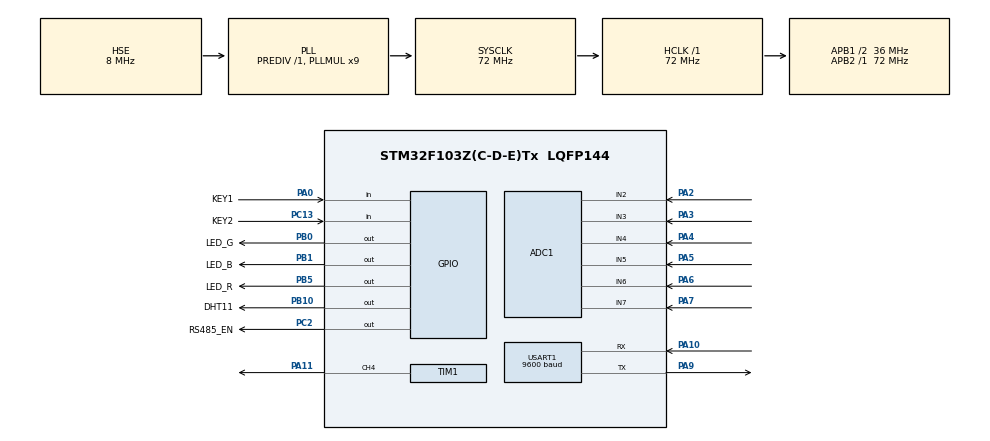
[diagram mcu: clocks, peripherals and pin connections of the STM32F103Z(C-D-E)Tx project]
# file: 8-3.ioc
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ADC1.Channel-0\#ChannelRegularConversion=ADC_CHANNEL_2
ADC1.Channel-1\#ChannelRegularConversion=ADC_CHANNEL_3
ADC1.Channel-2\#ChannelRegularConversion=ADC_CHANNEL_4
ADC1.Channel-3\#ChannelRegularConversion=ADC_CHANNEL_5
ADC1.Channel-4\#ChannelRegularConversion=ADC_CHANNEL_6
ADC1.Channel-5\#ChannelRegularConversion=ADC_CHANNEL_7
ADC1.ContinuousConvMode=ENABLE
ADC1.NbrOfConversion=6
ADC1.NbrOfConversionFlag=1
ADC1.Rank-0\#ChannelRegularConversion=1
ADC1.Rank-1\#ChannelRegularConversion=2
ADC1.Rank-2\#ChannelRegularConversion=3
ADC1.Rank-3\#ChannelRegularConversion=4
ADC1.Rank-4\#ChannelRegularConversion=5
ADC1.Rank-5\#ChannelRegularConversion=6
ADC1.SamplingTime-0\#ChannelRegularConversion=ADC_SAMPLETIME_55CYCLES_5
ADC1.SamplingTime-1\#ChannelRegularConversion=ADC_SAMPLETIME_55CYCLES_5
ADC1.SamplingTime-2\#ChannelRegularConversion=ADC_SAMPLETIME_55CYCLES_5
ADC1.SamplingTime-3\#ChannelRegularConversion=ADC_SAMPLETIME_55CYCLES_5
ADC1.SamplingTime-4\#ChannelRegularConversion=ADC_SAMPLETIME_55CYCLES_5
ADC1.SamplingTime-5\#ChannelRegularConversion=ADC_SAMPLETIME_55CYCLES_5
ADC1.master=1
Dma.ADC1.0.Direction=DMA_PERIPH_TO_MEMORY
Dma.ADC1.0.Instance=DMA1_Channel1
Dma.ADC1.0.MemDataAlignment=DMA_MDATAALIGN_WORD
Dma.ADC1.0.MemInc=DMA_MINC_ENABLE
Dma.ADC1.0.Mode=DMA_CIRCULAR
Dma.ADC1.0.PeriphDataAlignment=DMA_PDATAALIGN_WORD
Dma.ADC1.0.PeriphInc=DMA_PINC_DISABLE
Dma.ADC1.0.Priority=DMA_PRIORITY_LOW
Dma.Request0=ADC1
Mcu.Family=STM32F1
Mcu.Name=STM32F103Z(C-D-E)Tx
Mcu.Package=LQFP144
NVIC.ADC1_2_IRQn=true\:7\:0\:true\:false\:true\:true\:true\:true
NVIC.DMA1_Channel1_IRQn=true\:0\:0\:false\:false\:true\:false\:true\:true
NVIC.PriorityGroup=NVIC_PRIORITYGROUP_4
NVIC.TIM1_UP_IRQn=true\:8\:0\:true\:false\:true\:true\:true\:true
NVIC.TIM2_IRQn=true\:6\:0\:true\:false\:true\:true\:true\:true
NVIC.TIM3_IRQn=true\:9\:0\:true\:false\:true\:true\:true\:true
NVIC.TIM4_IRQn=true\:11\:0\:true\:false\:true\:true\:true\:true
NVIC.USART1_IRQn=true\:10\:0\:true\:false\:true\:true\:true\:true
OSC_IN.Mode=HSE-External-Oscillator
OSC_IN.Signal=RCC_OSC_IN
OSC_OUT.Mode=HSE-External-Oscillator
OSC_OUT.Signal=RCC_OSC_OUT
PA0-WKUP.GPIO_Label=KEY1
PA0-WKUP.GPIO_PuPd=GPIO_PULLDOWN
PA0-WKUP.Signal=GPIO_Input
PA10.Mode=Asynchronous
PA10.Signal=USART1_RX
PA11.Signal=S_TIM1_CH4
PA13.Mode=Serial_Wire
PA13.Signal=SYS_JTMS-SWDIO
PA14.Mode=Serial_Wire
PA14.Signal=SYS_JTCK-SWCLK
PA2.Signal=ADCx_IN2
PA3.Signal=ADCx_IN3
PA4.Signal=ADCx_IN4
PA5.Signal=ADCx_IN5
PA6.Signal=ADCx_IN6
PA7.Signal=ADCx_IN7
PA9.Mode=Asynchronous
PA9.Signal=USART1_TX
PB0.GPIO_Label=LED_G
PB0.GPIO_Speed=GPIO_SPEED_FREQ_LOW
PB0.PinState=GPIO_PIN_SET
PB0.Signal=GPIO_Output
PB1.GPIO_Label=LED_B
PB1.GPIO_Speed=GPIO_SPEED_FREQ_LOW
PB1.PinState=GPIO_PIN_SET
PB1.Signal=GPIO_Output
PB10.GPIO_Label=DHT11
PB10.Signal=GPIO_Output
PB5.GPIO_Label=LED_R
PB5.GPIO_ModeDefaultOutputPP=GPIO_MODE_OUTPUT_PP
PB5.GPIO_PuPd=GPIO_NOPULL
PB5.GPIO_Speed=GPIO_SPEED_FREQ_LOW
PB5.PinState=GPIO_PIN_SET
PB5.Signal=GPIO_Output
PC13-TAMPER-RTC.GPIO_Label=KEY2
PC13-TAMPER-RTC.GPIO_PuPd=GPIO_PULLDOWN
PC13-TAMPER-RTC.Signal=GPIO_Input
PC14-OSC32_IN.Mode=LSE-External-Oscillator
PC14-OSC32_IN.Signal=RCC_OSC32_IN
PC15-OSC32_OUT.Mode=LSE-External-Oscillator
PC15-OSC32_OUT.Signal=RCC_OSC32_OUT
PC2.GPIO_Label=RS485_EN
PC2.Signal=GPIO_Output
ProjectManager.HeapSize=0x200
ProjectManager.StackSize=0x400
ProjectManager.TargetToolchain=MDK-ARM V5.32
RCC.ADCPresc=RCC_ADCPCLK2_DIV6
RCC.AHBFreq_Value=72000000
RCC.APB1CLKDivider=RCC_HCLK_DIV2
RCC.APB1Freq_Value=36000000
RCC.APB1TimFreq_Value=72000000
RCC.APB2Freq_Value=72000000
RCC.APB2TimFreq_Value=72000000
RCC.HCLKFreq_Value=72000000
RCC.PLLMUL=RCC_PLL_MUL9
RCC.PLLSourceVirtual=RCC_PLLSOURCE_HSE
RCC.SYSCLKFreq_VALUE=72000000
RCC.SYSCLKSource=RCC_SYSCLKSOURCE_PLLCLK
RCC.USBFreq_Value=72000000
SH.ADCx_IN2.0=ADC1_IN2,IN2
SH.ADCx_IN3.0=ADC1_IN3,IN3
SH.ADCx_IN4.0=ADC1_IN4,IN4
SH.ADCx_IN5.0=ADC1_IN5,IN5
SH.ADCx_IN6.0=ADC1_IN6,IN6
SH.ADCx_IN7.0=ADC1_IN7,IN7
SH.S_TIM1_CH4.0=TIM1_CH4,PWM Generation4 CH4
TIM1.AutoReloadPreload=TIM_AUTORELOAD_PRELOAD_ENABLE
TIM1.Channel-PWM\ Generation4\ CH4=TIM_CHANNEL_4
TIM1.Prescaler=5
TIM2.Period=49
TIM2.Prescaler=7199
TIM3.Period=99
TIM3.Prescaler=7199
TIM4.Prescaler=7199
USART1.BaudRate=9600
USART1.VirtualMode=VM_ASYNC
VP_TIM1_VS_ClockSourceINT.Mode=Internal
VP_TIM2_VS_ClockSourceINT.Mode=Internal
VP_TIM3_VS_ClockSourceINT.Mode=Internal
VP_TIM4_VS_ClockSourceINT.Mode=Internal
board=custom

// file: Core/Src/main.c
/* USER CODE BEGIN Header */
/**
  ******************************************************************************
  * @file           : main.c
  * @brief          : Main program body
  ******************************************************************************
  * @attention
  *
  * Copyright (c) 2026 STMicroelectronics.
  * All rights reserved.
  *
  * This software is licensed under terms that can be found in the LICENSE file
  * in the root directory of this software component.
  * If no LICENSE file comes with this software, it is provided AS-IS.
  *
  ******************************************************************************
  */
/* USER CODE END Header */
#include "main.h"

ADC_HandleTypeDef hadc1;
DMA_HandleTypeDef hdma_adc1;

TIM_HandleTypeDef htim1;
TIM_HandleTypeDef htim2;
TIM_HandleTypeDef htim3;
TIM_HandleTypeDef htim4;

UART_HandleTypeDef huart1;

void SystemClock_Config(void);
static void MX_GPIO_Init(void);
static void MX_DMA_Init(void);
static void MX_TIM1_Init(void);
static void MX_TIM3_Init(void);
static void MX_TIM4_Init(void);
static void MX_ADC1_Init(void);
static void MX_USART1_UART_Init(void);
static void MX_TIM2_Init(void);

int main(void)
{

  /* MCU Configuration--------------------------------------------------------*/

  /* Reset of all peripherals, Initializes the Flash interface and the Systick. */
  HAL_Init();

  /* Configure the system clock */
  SystemClock_Config();

  /* Initialize all configured peripherals */
  MX_GPIO_Init();
  MX_DMA_Init();
  MX_TIM1_Init();
  MX_TIM3_Init();
  MX_TIM4_Init();
  MX_ADC1_Init();
  MX_USART1_UART_Init();
  MX_TIM2_Init();
  /* USER CODE BEGIN 2 */
  uint8_t photoResBuf[9] = {0x01, 0x03, 0x04, 0x00, 0x00, 0x00, 0x00, 0x00, 0x00}; // 定义一个数组来存储要发送的光敏电阻数据，包含 Modbus RTU 协议的帧头、功能码、数据地址、数据长度和占位符
  uint8_t TempHumiBuf[9] = {0x02,0x03,0x04,0x00,0x00,0x00,0x00,0x00,0X00};  //温湿度发送数组

  DHT11_Data_TypeDef DHT11_Data; // 定义一个结构体变量来存储从 DHT11 传感器读取到的数据，包括湿度和温度的整数部分、小数部分以及校验和
  DHT11_ReadData(&DHT11_Data); // 从 DHT11 传感器读取数据，存储到 DHT11_Data 结构体中

  /* USER CODE END 2 */

  /* Infinite loop */
  /* USER CODE BEGIN WHILE */
  while (1)
  {
    Key_Scan(); // 扫描按键状态，更新按键标志位

    if (1 == Key1Flag) // 如果按键1被按下
    {
      LED_RED_ON; // 点亮红灯
      unsigned temp = DHT11_ReadData(&DHT11_Data); // 从 DHT11 传感器读取数据，存储到 DHT11_Data 结构体中
      if (DHT11_OK == temp) // 如果读取成功
      {
        printf("Humidity: %d.%d%%, Temperature: %d.%dC\r\n", DHT11_Data.humi_int, DHT11_Data.humi_deci, DHT11_Data.temp_int, DHT11_Data.temp_deci); // 打印读取到的湿度和温度数据
      }
      else if (DHT11_ERR == temp) // 如果读取失败
      {
        printf("DHT11 read error.\r\n"); // 打印错误信息
      }
      else if (DHT11_BUSY == temp) // 如果 DHT11 正在忙碌中
      {
        printf("DHT11 is busy.\r\n"); // 打印忙碌信息
      }
      LED_RED_OFF; // 熄灭红灯
      Key1Flag = 0; // 重置按键1的标志位
    }

    // 如果 DMA 传输完成，处理 ADC 转换结果并通过 RS485 发送光照强度数据
    if (1 == DMA_Flag) // 如果 DMA 传输完成
    {
      unsigned short lux = 0; // 定义一个变量来存储计算得到的光照强度值
      unsigned short crcTemp = 0; // 定义一个变量来存储 CRC 校验值
      uint32_t PhotoResistor = (uint32_t)(10240000 / (1.1 * ADC1_AVG_Buf[4]) -2500); // 根据 ADC1 的第5个通道的平均值计算光敏电阻的阻值，单位为欧姆
      lux = GetLux(PhotoResistor); // 根据光敏电阻的阻值计算光照强度，单位为勒克斯
      photoResBuf[5] = lux >> 8; // 将光照强度的高字节存储到发送缓冲区的第6个位置
      photoResBuf[6] = lux & 0xFF; // 将光照强度的低字节存储到发送缓冲区的第7个位置
      crcTemp = CRC_Compute(photoResBuf, 7); // 计算发送缓冲区前7个字节的 CRC 校验值，使用 Modbus RTU 协议的 CRC16 算法
      photoResBuf[7] = crcTemp & 0xFF; // 将 CRC 校验值的低字节存储到发送缓冲区的第8个位置
      photoResBuf[8] = crcTemp >> 8; // 将 CRC 校验值的高字节存储到发送缓冲区的第9个位置
      RS485_Send(photoResBuf, 9); // 通过 RS485 接口发送整个缓冲区的数据，长度为9字节
      DMA_Flag = 0; // 重置 DMA 传输完成标志
    }

    // 如果接收到 UART 数据并且接收完成标志被设置，处理接收到的数据
    if(Uart1ReceiveFlag)
    {
      if(BROADCAST == Uart1ReceiveBuf[0]) // 如果接收到的数据的第一个字节是广播地址，处理广播命令
      {
        // 进行 CRC 校验
        unsigned short crctemp = CRC_Compute(Uart1ReceiveBuf,Uart1ReceiveCnt - 2);
        if((Uart1ReceiveBuf[Uart1ReceiveCnt - 1] << 8 | Uart1ReceiveBuf[Uart1ReceiveCnt - 1]) == crctemp)
        {
          //写引脚 功能码06 引脚地址默认05
          if((0x06 == Uart1ReceiveBuf[1])&&(0x05 == Uart1ReceiveBuf[3]))
          {
            LED_RED = Uart1ReceiveBuf[5];
          }
        }
      }
      else if(PHOTO_RES == Uart1ReceiveBuf[0])
      {
        //CRC校验
        unsigned short crctemp = CRC_Compute(Uart1ReceiveBuf,Uart1ReceiveCnt - 2);
        if((Uart1ReceiveBuf[Uart1ReceiveCnt - 1] << 8 | Uart1ReceiveBuf[Uart1ReceiveCnt - 2]) == crctemp)
        {
          //写引脚 功能码06 引脚地址默认05
          if((0x06 == Uart1ReceiveBuf[1])&&(0x05 == Uart1ReceiveBuf[3]))
          {
            LED_RED = Uart1ReceiveBuf[5];
            //单播数据需要返回
            RS485_Send(Uart1ReceiveBuf,Uart1ReceiveCnt);
          }
          //读光照度 功能码03 光照度默认地址01 4字节
          if((0x03 == Uart1ReceiveBuf[1])&&(0x01 == Uart1ReceiveBuf[3]))
          {
            //开启ADC1的DMA通道
            HAL_ADC_Start_DMA(&hadc1,(uint32_t *)AD_Buf,ADC_DMA_BUF_LEN);
          }
        }
      }
      else if (TEMP_HUMI == Uart1ReceiveBuf[0]) // 如果接收到的数据的第一个字节是温湿度命令，处理温湿度数据请求
      {
         //CRC校验
        unsigned short crctemp = CRC_Compute(Uart1ReceiveBuf,Uart1ReceiveCnt-2);
        if((Uart1ReceiveBuf[Uart1ReceiveCnt-1]<<8 | Uart1ReceiveBuf[Uart1ReceiveCnt-2]) == crctemp)
        {
          //写引脚 功能码06 引脚地址默认05
          if((0x06 == Uart1ReceiveBuf[1])&&(0x05 == Uart1ReceiveBuf[3]))
          {
            LED_RED = Uart1ReceiveBuf[5];
            //单播数据需要返回
            RS485_Send(Uart1ReceiveBuf,Uart1ReceiveCnt);
          }
          //读温湿 功能码03 温湿度默认地址01 4字节
          if((0x03 == Uart1ReceiveBuf[1])&&(0x01 == Uart1ReceiveBuf[3]))
          {
            DHT11_ReadData(&DHT11_Data);   //读取温湿度，用时约70ms
            TempHumiBuf[3] = DHT11_Data.humi_int;
            TempHumiBuf[4] = DHT11_Data.humi_deci;
            TempHumiBuf[5] = DHT11_Data.temp_int;
            TempHumiBuf[6] = DHT11_Data.temp_deci;

            unsigned short crcTemp = 0;  //crc校验临时变量
            crcTemp = CRC_Compute(TempHumiBuf,7);
            //CRC校验2字节，注意低位在前
            TempHumiBuf[7] = crcTemp&0xff;
            TempHumiBuf[8] = crcTemp>>8;
            //通过485发送传感器数据
            RS485_Send(TempHumiBuf,9);
          }
      }
    }
      Uart1ReceiveCnt = 0;
      Uart1ReceiveFlag = 0;
    }
    /* USER CODE END WHILE */

  }
}

void SystemClock_Config(void)
{
  RCC_OscInitTypeDef RCC_OscInitStruct = {0};
  RCC_ClkInitTypeDef RCC_ClkInitStruct = {0};
  RCC_PeriphCLKInitTypeDef PeriphClkInit = {0};

  /** Initializes the RCC Oscillators according to the specified parameters
  * in the RCC_OscInitTypeDef structure.
  */
  RCC_OscInitStruct.OscillatorType = RCC_OSCILLATORTYPE_HSE;
  RCC_OscInitStruct.HSEState = RCC_HSE_ON;
  RCC_OscInitStruct.HSEPredivValue = RCC_HSE_PREDIV_DIV1;
  RCC_OscInitStruct.HSIState = RCC_HSI_ON;
  RCC_OscInitStruct.PLL.PLLState = RCC_PLL_ON;
  RCC_OscInitStruct.PLL.PLLSource = RCC_PLLSOURCE_HSE;
  RCC_OscInitStruct.PLL.PLLMUL = RCC_PLL_MUL9;
  if (HAL_RCC_OscConfig(&RCC_OscInitStruct) != HAL_OK)
  {
    Error_Handler();
  }

  /** Initializes the CPU, AHB and APB buses clocks
  */
  RCC_ClkInitStruct.ClockType = RCC_CLOCKTYPE_HCLK|RCC_CLOCKTYPE_SYSCLK
                              |RCC_CLOCKTYPE_PCLK1|RCC_CLOCKTYPE_PCLK2;
  RCC_ClkInitStruct.SYSCLKSource = RCC_SYSCLKSOURCE_PLLCLK;
  RCC_ClkInitStruct.AHBCLKDivider = RCC_SYSCLK_DIV1;
  RCC_ClkInitStruct.APB1CLKDivider = RCC_HCLK_DIV2;
  RCC_ClkInitStruct.APB2CLKDivider = RCC_HCLK_DIV1;

  if (HAL_RCC_ClockConfig(&RCC_ClkInitStruct, FLASH_LATENCY_2) != HAL_OK)
  {
    Error_Handler();
  }
  PeriphClkInit.PeriphClockSelection = RCC_PERIPHCLK_ADC;
  PeriphClkInit.AdcClockSelection = RCC_ADCPCLK2_DIV6;
  if (HAL_RCCEx_PeriphCLKConfig(&PeriphClkInit) != HAL_OK)
  {
    Error_Handler();
  }
}

static void MX_ADC1_Init(void)
{

  ADC_ChannelConfTypeDef sConfig = {0};

  /** Common config
  */
  hadc1.Instance = ADC1;
  hadc1.Init.ScanConvMode = ADC_SCAN_ENABLE;
  hadc1.Init.ContinuousConvMode = ENABLE;
  hadc1.Init.DiscontinuousConvMode = DISABLE;
  hadc1.Init.ExternalTrigConv = ADC_SOFTWARE_START;
  hadc1.Init.DataAlign = ADC_DATAALIGN_RIGHT;
  hadc1.Init.NbrOfConversion = 6;
  if (HAL_ADC_Init(&hadc1) != HAL_OK)
  {
    Error_Handler();
  }

  /** Configure Regular Channel
  */
  sConfig.Channel = ADC_CHANNEL_2;
  sConfig.Rank = ADC_REGULAR_RANK_1;
  sConfig.SamplingTime = ADC_SAMPLETIME_55CYCLES_5;
  if (HAL_ADC_ConfigChannel(&hadc1, &sConfig) != HAL_OK)
  {
    Error_Handler();
  }

  /** Configure Regular Channel
  */
  sConfig.Channel = ADC_CHANNEL_3;
  sConfig.Rank = ADC_REGULAR_RANK_2;
  if (HAL_ADC_ConfigChannel(&hadc1, &sConfig) != HAL_OK)
  {
    Error_Handler();
  }

  /** Configure Regular Channel
  */
  sConfig.Channel = ADC_CHANNEL_4;
  sConfig.Rank = ADC_REGULAR_RANK_3;
  if (HAL_ADC_ConfigChannel(&hadc1, &sConfig) != HAL_OK)
  {
    Error_Handler();
  }

  /** Configure Regular Channel
  */
  sConfig.Channel = ADC_CHANNEL_5;
  sConfig.Rank = ADC_REGULAR_RANK_4;
  if (HAL_ADC_ConfigChannel(&hadc1, &sConfig) != HAL_OK)
  {
    Error_Handler();
  }

  /** Configure Regular Channel
  */
  sConfig.Channel = ADC_CHANNEL_6;
  sConfig.Rank = ADC_REGULAR_RANK_5;
  if (HAL_ADC_ConfigChannel(&hadc1, &sConfig) != HAL_OK)
  {
    Error_Handler();
  }

  /** Configure Regular Channel
  */
  sConfig.Channel = ADC_CHANNEL_7;
  sConfig.Rank = ADC_REGULAR_RANK_6;
  if (HAL_ADC_ConfigChannel(&hadc1, &sConfig) != HAL_OK)
  {
    Error_Handler();
  }
  /* USER CODE BEGIN ADC1_Init 2 */
  HAL_ADCEx_Calibration_Start(&hadc1); // ADC校准

  /* USER CODE END ADC1_Init 2 */

}

static void MX_TIM1_Init(void)
{

  TIM_ClockConfigTypeDef sClockSourceConfig = {0};
  TIM_MasterConfigTypeDef sMasterConfig = {0};
  TIM_OC_InitTypeDef sConfigOC = {0};
  TIM_BreakDeadTimeConfigTypeDef sBreakDeadTimeConfig = {0};

  htim1.Instance = TIM1;
  htim1.Init.Prescaler = 5;
  htim1.Init.CounterMode = TIM_COUNTERMODE_UP;
  htim1.Init.Period = 65535;
  htim1.Init.ClockDivision = TIM_CLOCKDIVISION_DIV1;
  htim1.Init.RepetitionCounter = 0;
  htim1.Init.AutoReloadPreload = TIM_AUTORELOAD_PRELOAD_ENABLE;
  if (HAL_TIM_Base_Init(&htim1) != HAL_OK)
  {
    Error_Handler();
  }
  sClockSourceConfig.ClockSource = TIM_CLOCKSOURCE_INTERNAL;
  if (HAL_TIM_ConfigClockSource(&htim1, &sClockSourceConfig) != HAL_OK)
  {
    Error_Handler();
  }
  if (HAL_TIM_PWM_Init(&htim1) != HAL_OK)
  {
    Error_Handler();
  }
  sMasterConfig.MasterOutputTrigger = TIM_TRGO_RESET;
  sMasterConfig.MasterSlaveMode = TIM_MASTERSLAVEMODE_DISABLE;
  if (HAL_TIMEx_MasterConfigSynchronization(&htim1, &sMasterConfig) != HAL_OK)
  {
    Error_Handler();
  }
  sConfigOC.OCMode = TIM_OCMODE_PWM1;
  sConfigOC.Pulse = 0;
  sConfigOC.OCPolarity = TIM_OCPOLARITY_HIGH;
  sConfigOC.OCFastMode = TIM_OCFAST_DISABLE;
  sConfigOC.OCIdleState = TIM_OCIDLESTATE_RESET;
  sConfigOC.OCNIdleState = TIM_OCNIDLESTATE_RESET;
  if (HAL_TIM_PWM_ConfigChannel(&htim1, &sConfigOC, TIM_CHANNEL_4) != HAL_OK)
  {
    Error_Handler();
  }
  sBreakDeadTimeConfig.OffStateRunMode = TIM_OSSR_DISABLE;
  sBreakDeadTimeConfig.OffStateIDLEMode = TIM_OSSI_DISABLE;
  sBreakDeadTimeConfig.LockLevel = TIM_LOCKLEVEL_OFF;
  sBreakDeadTimeConfig.DeadTime = 0;
  sBreakDeadTimeConfig.BreakState = TIM_BREAK_DISABLE;
  sBreakDeadTimeConfig.BreakPolarity = TIM_BREAKPOLARITY_HIGH;
  sBreakDeadTimeConfig.AutomaticOutput = TIM_AUTOMATICOUTPUT_DISABLE;
  if (HAL_TIMEx_ConfigBreakDeadTime(&htim1, &sBreakDeadTimeConfig) != HAL_OK)
  {
    Error_Handler();
  }
  HAL_TIM_MspPostInit(&htim1);

}

static void MX_TIM2_Init(void)
{

  TIM_ClockConfigTypeDef sClockSourceConfig = {0};
  TIM_MasterConfigTypeDef sMasterConfig = {0};

  htim2.Instance = TIM2;
  htim2.Init.Prescaler = 7199;
  htim2.Init.CounterMode = TIM_COUNTERMODE_UP;
  htim2.Init.Period = 49;
  htim2.Init.ClockDivision = TIM_CLOCKDIVISION_DIV1;
  htim2.Init.AutoReloadPreload = TIM_AUTORELOAD_PRELOAD_DISABLE;
  if (HAL_TIM_Base_Init(&htim2) != HAL_OK)
  {
    Error_Handler();
  }
  sClockSourceConfig.ClockSource = TIM_CLOCKSOURCE_INTERNAL;
  if (HAL_TIM_ConfigClockSource(&htim2, &sClockSourceConfig) != HAL_OK)
  {
    Error_Handler();
  }
  sMasterConfig.MasterOutputTrigger = TIM_TRGO_RESET;
  sMasterConfig.MasterSlaveMode = TIM_MASTERSLAVEMODE_DISABLE;
  if (HAL_TIMEx_MasterConfigSynchronization(&htim2, &sMasterConfig) != HAL_OK)
  {
    Error_Handler();
  }

}

static void MX_TIM3_Init(void)
{

  TIM_ClockConfigTypeDef sClockSourceConfig = {0};
  TIM_MasterConfigTypeDef sMasterConfig = {0};

  htim3.Instance = TIM3;
  htim3.Init.Prescaler = 7199;
  htim3.Init.CounterMode = TIM_COUNTERMODE_UP;
  htim3.Init.Period = 99;
  htim3.Init.ClockDivision = TIM_CLOCKDIVISION_DIV1;
  htim3.Init.AutoReloadPreload = TIM_AUTORELOAD_PRELOAD_DISABLE;
  if (HAL_TIM_Base_Init(&htim3) != HAL_OK)
  {
    Error_Handler();
  }
  sClockSourceConfig.ClockSource = TIM_CLOCKSOURCE_INTERNAL;
  if (HAL_TIM_ConfigClockSource(&htim3, &sClockSourceConfig) != HAL_OK)
  {
    Error_Handler();
  }
  sMasterConfig.MasterOutputTrigger = TIM_TRGO_RESET;
  sMasterConfig.MasterSlaveMode = TIM_MASTERSLAVEMODE_DISABLE;
  if (HAL_TIMEx_MasterConfigSynchronization(&htim3, &sMasterConfig) != HAL_OK)
  {
    Error_Handler();
  }

}

static void MX_TIM4_Init(void)
{

  TIM_ClockConfigTypeDef sClockSourceConfig = {0};
  TIM_MasterConfigTypeDef sMasterConfig = {0};

  htim4.Instance = TIM4;
  htim4.Init.Prescaler = 7199;
  htim4.Init.CounterMode = TIM_COUNTERMODE_UP;
  htim4.Init.Period = 65535;
  htim4.Init.ClockDivision = TIM_CLOCKDIVISION_DIV1;
  htim4.Init.AutoReloadPreload = TIM_AUTORELOAD_PRELOAD_DISABLE;
  if (HAL_TIM_Base_Init(&htim4) != HAL_OK)
  {
    Error_Handler();
  }
  sClockSourceConfig.ClockSource = TIM_CLOCKSOURCE_INTERNAL;
  if (HAL_TIM_ConfigClockSource(&htim4, &sClockSourceConfig) != HAL_OK)
  {
    Error_Handler();
  }
  sMasterConfig.MasterOutputTrigger = TIM_TRGO_RESET;
  sMasterConfig.MasterSlaveMode = TIM_MASTERSLAVEMODE_DISABLE;
  if (HAL_TIMEx_MasterConfigSynchronization(&htim4, &sMasterConfig) != HAL_OK)
  {
    Error_Handler();
  }

}

static void MX_USART1_UART_Init(void)
{

  huart1.Instance = USART1;
  huart1.Init.BaudRate = 9600;
  huart1.Init.WordLength = UART_WORDLENGTH_8B;
  huart1.Init.StopBits = UART_STOPBITS_1;
  huart1.Init.Parity = UART_PARITY_NONE;
  huart1.Init.Mode = UART_MODE_TX_RX;
  huart1.Init.HwFlowCtl = UART_HWCONTROL_NONE;
  huart1.Init.OverSampling = UART_OVERSAMPLING_16;
  if (HAL_UART_Init(&huart1) != HAL_OK)
  {
    Error_Handler();
  }
  /* USER CODE BEGIN USART1_Init 2 */
  HAL_UART_Receive_IT(&huart1, Uart1Temp, REC_LENGTH); // 开启UART接收中断

   /* USER CODE END USART1_Init 2 */

  /* USER CODE END USART1_Init 2 */

}

static void MX_DMA_Init(void)
{

  /* DMA controller clock enable */
  __HAL_RCC_DMA1_CLK_ENABLE();

  /* DMA interrupt init */
  /* DMA1_Channel1_IRQn interrupt configuration */
  HAL_NVIC_SetPriority(DMA1_Channel1_IRQn, 0, 0);
  HAL_NVIC_EnableIRQ(DMA1_Channel1_IRQn);

}

static void MX_GPIO_Init(void)
{
  GPIO_InitTypeDef GPIO_InitStruct = {0};

  /* GPIO Ports Clock Enable */
  __HAL_RCC_GPIOC_CLK_ENABLE();
  __HAL_RCC_GPIOA_CLK_ENABLE();
  __HAL_RCC_GPIOB_CLK_ENABLE();

  /*Configure GPIO pin Output Level */
  HAL_GPIO_WritePin(RS485_EN_GPIO_Port, RS485_EN_Pin, GPIO_PIN_RESET);

  /*Configure GPIO pin Output Level */
  HAL_GPIO_WritePin(GPIOB, LED_G_Pin|LED_B_Pin|LED_R_Pin, GPIO_PIN_SET);

  /*Configure GPIO pin Output Level */
  HAL_GPIO_WritePin(DHT11_GPIO_Port, DHT11_Pin, GPIO_PIN_RESET);

  /*Configure GPIO pin : KEY2_Pin */
  GPIO_InitStruct.Pin = KEY2_Pin;
  GPIO_InitStruct.Mode = GPIO_MODE_INPUT;
  GPIO_InitStruct.Pull = GPIO_PULLDOWN;
  HAL_GPIO_Init(KEY2_GPIO_Port, &GPIO_InitStruct);

  /*Configure GPIO pin : RS485_EN_Pin */
  GPIO_InitStruct.Pin = RS485_EN_Pin;
  GPIO_InitStruct.Mode = GPIO_MODE_OUTPUT_PP;
  GPIO_InitStruct.Pull = GPIO_NOPULL;
  GPIO_InitStruct.Speed = GPIO_SPEED_FREQ_LOW;
  HAL_GPIO_Init(RS485_EN_GPIO_Port, &GPIO_InitStruct);

  /*Configure GPIO pin : KEY1_Pin */
  GPIO_InitStruct.Pin = KEY1_Pin;
  GPIO_InitStruct.Mode = GPIO_MODE_INPUT;
  GPIO_InitStruct.Pull = GPIO_PULLDOWN;
  HAL_GPIO_Init(KEY1_GPIO_Port, &GPIO_InitStruct);

  /*Configure GPIO pins : LED_G_Pin LED_B_Pin DHT11_Pin LED_R_Pin */
  GPIO_InitStruct.Pin = LED_G_Pin|LED_B_Pin|DHT11_Pin|LED_R_Pin;
  GPIO_InitStruct.Mode = GPIO_MODE_OUTPUT_PP;
  GPIO_InitStruct.Pull = GPIO_NOPULL;
  GPIO_InitStruct.Speed = GPIO_SPEED_FREQ_LOW;
  HAL_GPIO_Init(GPIOB, &GPIO_InitStruct);

}

void Error_Handler(void)
{
  __disable_irq();
  while (1)
  {
  }
}
